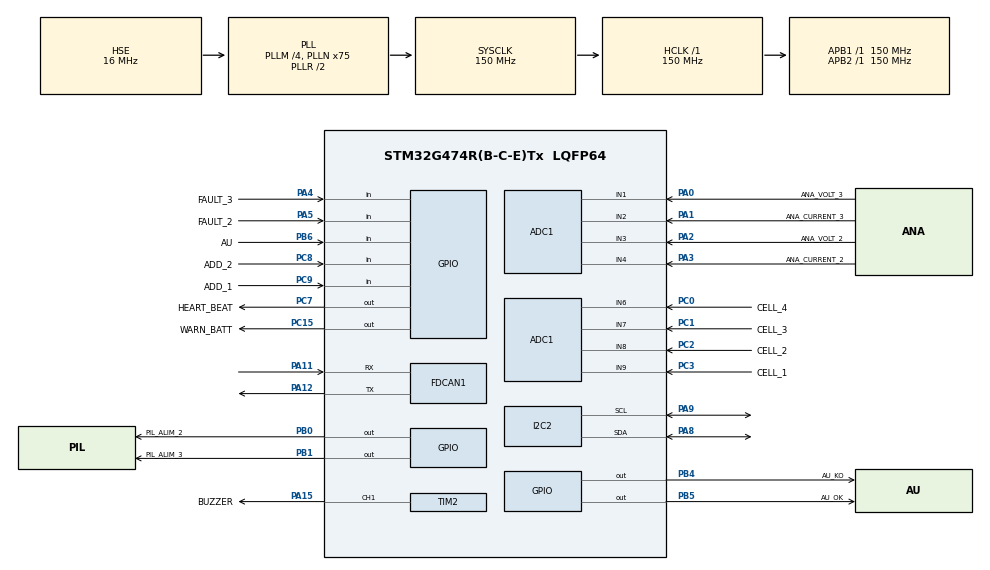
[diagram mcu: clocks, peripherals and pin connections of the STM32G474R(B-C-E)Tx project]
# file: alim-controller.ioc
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ADC1.Channel-0\#ChannelRegularConversion=ADC_CHANNEL_1
ADC1.NbrOfConversion=1
ADC1.NbrOfConversionFlag=1
ADC1.OffsetNumber-0\#ChannelRegularConversion=ADC_OFFSET_NONE
ADC1.Rank-0\#ChannelRegularConversion=1
ADC1.SamplingTime-0\#ChannelRegularConversion=ADC_SAMPLETIME_2CYCLES_5
ADC1.master=1
FDCAN1.CalculateBaudRateNominal=2000000
FDCAN1.CalculateTimeBitNominal=500
FDCAN1.CalculateTimeQuantumNominal=100.0
FDCAN1.NominalPrescaler=15
FDCAN1.NominalTimeSeg1=2
FDCAN1.NominalTimeSeg2=2
FDCAN1.StdFiltersNbr=1
FREERTOS.Tasks01=defaultTask,24,128,StartDefaultTask,Default,NULL,Dynamic,NULL,NULL
FREERTOS.Timers01=heartBeatTimer,heartBeatCallback,osTimerPeriodic,Default,NULL,Dynamic,NULL;adcTimer,adcCallback,osTimerPeriodic,Default,NULL,Dynamic,NULL
FREERTOS.configUSE_NEWLIB_REENTRANT=1
I2C2.Timing=0x30D293D6
Mcu.Family=STM32G4
Mcu.Name=STM32G474R(B-C-E)Tx
Mcu.Package=LQFP64
NVIC.PriorityGroup=NVIC_PRIORITYGROUP_4
NVIC.TIM1_UP_TIM16_IRQn=true\:15\:0\:false\:false\:true\:false\:false\:true\:true
NVIC.TimeBase=TIM1_UP_TIM16_IRQn
NVIC.TimeBaseIP=TIM1
PA0.GPIO_Label=ANA_VOLT_3
PA0.Mode=IN1-Single-Ended
PA0.Signal=ADC1_IN1
PA1.GPIO_Label=ANA_CURRENT_3
PA1.Mode=IN2-Single-Ended
PA1.Signal=ADC1_IN2
PA11.Mode=FDCAN_Activate
PA11.Signal=FDCAN1_RX
PA12.Mode=FDCAN_Activate
PA12.Signal=FDCAN1_TX
PA13.Mode=Trace_Asynchronous_SW
PA13.Signal=SYS_JTMS-SWDIO
PA14.Mode=Trace_Asynchronous_SW
PA14.Signal=SYS_JTCK-SWCLK
PA15.GPIO_Label=BUZZER
PA15.Signal=S_TIM2_CH1
PA2.GPIO_Label=ANA_VOLT_2
PA2.Mode=IN3-Single-Ended
PA2.Signal=ADC1_IN3
PA3.GPIO_Label=ANA_CURRENT_2
PA3.Mode=IN4-Single-Ended
PA3.Signal=ADC1_IN4
PA4.GPIO_Label=FAULT_3
PA4.Signal=GPIO_Input
PA5.GPIO_Label=FAULT_2
PA5.Signal=GPIO_Input
PA8.Mode=I2C
PA8.Signal=I2C2_SDA
PA9.Mode=I2C
PA9.Signal=I2C2_SCL
PB0.GPIO_Label=PIL_ALIM_2
PB0.PinState=GPIO_PIN_SET
PB0.Signal=GPIO_Output
PB1.GPIO_Label=PIL_ALIM_3
PB1.PinState=GPIO_PIN_SET
PB1.Signal=GPIO_Output
PB3.Mode=Trace_Asynchronous_SW
PB3.Signal=SYS_JTDO-SWO
PB4.GPIO_Label=AU_KO
PB4.PinState=GPIO_PIN_RESET
PB4.Signal=GPIO_Output
PB5.GPIO_Label=AU_OK
PB5.Signal=GPIO_Output
PB6.GPIO_Label=AU
PB6.Signal=GPIO_Input
PC0.GPIO_Label=CELL_4
PC0.Mode=IN6-Single-Ended
PC0.Signal=ADC1_IN6
PC1.GPIO_Label=CELL_3
PC1.Mode=IN7-Single-Ended
PC1.Signal=ADC1_IN7
PC15-OSC32_OUT.GPIO_Label=WARN_BATT
PC15-OSC32_OUT.PinState=GPIO_PIN_RESET
PC15-OSC32_OUT.Signal=GPIO_Output
PC2.GPIO_Label=CELL_2
PC2.Mode=IN8-Single-Ended
PC2.Signal=ADC1_IN8
PC3.GPIO_Label=CELL_1
PC3.Mode=IN9-Single-Ended
PC3.Signal=ADC1_IN9
PC7.GPIO_Label=HEART_BEAT
PC7.Signal=GPIO_Output
PC8.GPIO_Label=ADD_2
PC8.Signal=GPIO_Input
PC9.GPIO_Label=ADD_1
PC9.Signal=GPIO_Input
PF0-OSC_IN.Mode=HSE-External-Oscillator
PF0-OSC_IN.Signal=RCC_OSC_IN
PF1-OSC_OUT.Mode=HSE-External-Oscillator
PF1-OSC_OUT.Signal=RCC_OSC_OUT
ProjectManager.HeapSize=0x200
ProjectManager.StackSize=0x400
ProjectManager.TargetToolchain=CMake
RCC.ADC12Freq_Value=150000000
RCC.ADC345Freq_Value=150000000
RCC.AHBFreq_Value=150000000
RCC.APB1Freq_Value=150000000
RCC.APB1TimFreq_Value=150000000
RCC.APB2Freq_Value=150000000
RCC.APB2TimFreq_Value=150000000
RCC.CortexFreq_Value=150000000
RCC.EXTERNAL_CLOCK_VALUE=12288000
RCC.HCLKFreq_Value=150000000
RCC.HSE_VALUE=16000000
RCC.HSI48_VALUE=48000000
RCC.HSI_VALUE=16000000
RCC.LSE_VALUE=32768
RCC.PLLM=RCC_PLLM_DIV4
RCC.PLLN=75
RCC.PLLSourceVirtual=RCC_PLLSOURCE_HSE
RCC.SYSCLKFreq_VALUE=150000000
RCC.SYSCLKSource=RCC_SYSCLKSOURCE_PLLCLK
RCC.USBFreq_Value=150000000
RCC.VCOOutputFreq_Value=300000000
SH.S_TIM2_CH1.0=TIM2_CH1,PWM Generation1 CH1
TIM2.AutoReloadPreload=TIM_AUTORELOAD_PRELOAD_ENABLE
TIM2.Channel-PWM\ Generation1\ CH1=TIM_CHANNEL_1
TIM2.PeriodNoDither=54899
TIM2.Prescaler=0
VP_FREERTOS_VS_CMSIS_V2.Mode=CMSIS_V2
VP_SYS_VS_DBSignals.Mode=DisableDeadBatterySignals
VP_SYS_VS_tim1.Mode=TIM1
VP_TIM2_VS_ClockSourceINT.Mode=Internal
board=custom

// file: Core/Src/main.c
/* USER CODE BEGIN Header */
/**
  ******************************************************************************
  * @file           : main.c
  * @brief          : Main program body
  ******************************************************************************
  * @attention
  *
  * Copyright (c) 2024 STMicroelectronics.
  * All rights reserved.
  *
  * This software is licensed under terms that can be found in the LICENSE file
  * in the root directory of this software component.
  * If no LICENSE file comes with this software, it is provided AS-IS.
  *
  ******************************************************************************
  */
/* USER CODE END Header */
#include "main.h"
#include "cmsis_os.h"
#include "adc.h"
#include "fdcan.h"
#include "i2c.h"
#include "tim.h"
#include "gpio.h"

/* USER CODE BEGIN Includes */
#include "itm_log.h"
/* USER CODE END Includes */

/* USER CODE BEGIN PV */
Alimentation internalAlim;
Alimentation externalAlim;

Battery battery;

Configuration configuration;

bool au;
/* USER CODE END PV */

void SystemClock_Config(void);
void MX_FREERTOS_Init(void);

int main(void)
{

  /* USER CODE BEGIN 1 */
  LOG_INFO("main: MCU Configuration");
  /* USER CODE END 1 */

  /* MCU Configuration--------------------------------------------------------*/

  /* Reset of all peripherals, Initializes the Flash interface and the Systick. */
  HAL_Init();

  /* USER CODE BEGIN Init */
  LOG_INFO("main: Begin Init");
  /* USER CODE END Init */

  /* Configure the system clock */
  SystemClock_Config();

  /* USER CODE BEGIN SysInit */
  LOG_INFO("main: Begin SysInit");
  /* USER CODE END SysInit */

  /* Initialize all configured peripherals */
  MX_GPIO_Init();
  MX_ADC1_Init();
  MX_FDCAN1_Init();
  MX_I2C2_Init();
  MX_TIM2_Init();

  /* Init scheduler */
  osKernelInitialize();  /* Call init function for freertos objects (in cmsis_os2.c) */
  MX_FREERTOS_Init();

  /* Start scheduler */
  osKernelStart();

  /* We should never get here as control is now taken by the scheduler */

  /* Infinite loop */
  /* USER CODE BEGIN WHILE */
  // ReSharper disable once CppDFAEndlessLoop
  while (true)
  {
    /* USER CODE END WHILE */

    /* USER CODE BEGIN 3 */
    LOG_WARN("main: Execution après init de FreeRTOS. Tres bizarre");
  }
  /* USER CODE END 3 */
}

void SystemClock_Config(void)
{
  RCC_OscInitTypeDef RCC_OscInitStruct = {0};
  RCC_ClkInitTypeDef RCC_ClkInitStruct = {0};

  /** Configure the main internal regulator output voltage
  */
  HAL_PWREx_ControlVoltageScaling(PWR_REGULATOR_VOLTAGE_SCALE1);

  /** Initializes the RCC Oscillators according to the specified parameters
  * in the RCC_OscInitTypeDef structure.
  */
  RCC_OscInitStruct.OscillatorType = RCC_OSCILLATORTYPE_HSE;
  RCC_OscInitStruct.HSEState = RCC_HSE_ON;
  RCC_OscInitStruct.PLL.PLLState = RCC_PLL_ON;
  RCC_OscInitStruct.PLL.PLLSource = RCC_PLLSOURCE_HSE;
  RCC_OscInitStruct.PLL.PLLM = RCC_PLLM_DIV4;
  RCC_OscInitStruct.PLL.PLLN = 75;
  RCC_OscInitStruct.PLL.PLLP = RCC_PLLP_DIV2;
  RCC_OscInitStruct.PLL.PLLQ = RCC_PLLQ_DIV2;
  RCC_OscInitStruct.PLL.PLLR = RCC_PLLR_DIV2;
  if (HAL_RCC_OscConfig(&RCC_OscInitStruct) != HAL_OK)
  {
    Error_Handler();
  }

  /** Initializes the CPU, AHB and APB buses clocks
  */
  RCC_ClkInitStruct.ClockType = RCC_CLOCKTYPE_HCLK|RCC_CLOCKTYPE_SYSCLK
                              |RCC_CLOCKTYPE_PCLK1|RCC_CLOCKTYPE_PCLK2;
  RCC_ClkInitStruct.SYSCLKSource = RCC_SYSCLKSOURCE_PLLCLK;
  RCC_ClkInitStruct.AHBCLKDivider = RCC_SYSCLK_DIV1;
  RCC_ClkInitStruct.APB1CLKDivider = RCC_HCLK_DIV1;
  RCC_ClkInitStruct.APB2CLKDivider = RCC_HCLK_DIV1;

  if (HAL_RCC_ClockConfig(&RCC_ClkInitStruct, FLASH_LATENCY_4) != HAL_OK)
  {
    Error_Handler();
  }
}

void HAL_TIM_PeriodElapsedCallback(TIM_HandleTypeDef *htim)
{
  if (htim->Instance == TIM1)
  {
    HAL_IncTick();
  }
}

void Error_Handler(void)
{
  /* USER CODE BEGIN Error_Handler_Debug */
  LOG_ERROR("main: ERROR HANDLER");

  /* User can add his own implementation to report the HAL error return state */
  __disable_irq();

  // ReSharper disable once CppDFAEndlessLoop
  while (true)
  {
    HAL_GPIO_WritePin(HEART_BEAT_GPIO_Port, HEART_BEAT_Pin, GPIO_PIN_RESET);
    osDelay(1000);
    for (int i = 0 ; i < 10 ; i++) {
      HAL_GPIO_TogglePin(HEART_BEAT_GPIO_Port, HEART_BEAT_Pin);
      osDelay(100);
    }
  }
  /* USER CODE END Error_Handler_Debug */
}

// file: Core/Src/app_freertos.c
/* USER CODE BEGIN Header */
/**
  ******************************************************************************
  * File Name          : app_freertos.c
  * Description        : Code for freertos applications
  ******************************************************************************
  * @attention
  *
  * Copyright (c) 2024 STMicroelectronics.
  * All rights reserved.
  *
  * This software is licensed under terms that can be found in the LICENSE file
  * in the root directory of this software component.
  * If no LICENSE file comes with this software, it is provided AS-IS.
  *
  ******************************************************************************
  */
/* USER CODE END Header */

#include "FreeRTOS.h"
#include "task.h"
#include "main.h"
#include "cmsis_os.h"

/* USER CODE BEGIN Includes */
#include "itm_log.h"
#include "adc.h"
#include "tim.h"
#include "fdcan.h"
/* USER CODE END Includes */

/* Definitions for defaultTask */
osThreadId_t defaultTaskHandle;
const osThreadAttr_t defaultTask_attributes = {
  .name = "defaultTask",
  .priority = (osPriority_t) osPriorityNormal,
  .stack_size = 128 * 4
};
/* Definitions for heartBeatTimer */
osTimerId_t heartBeatTimerHandle;
const osTimerAttr_t heartBeatTimer_attributes = {
  .name = "heartBeatTimer"
};
/* Definitions for adcTimer */
osTimerId_t adcTimerHandle;
const osTimerAttr_t adcTimer_attributes = {
  .name = "adcTimer"
};

/* USER CODE BEGIN FunctionPrototypes */
void notifyAU(FDCAN_TxHeaderTypeDef txHeader);
void notifyAlim(FDCAN_TxHeaderTypeDef txHeader, Alimentation alim, uint8_t canId);
void notifyBattery(FDCAN_TxHeaderTypeDef txHeader);
void notifyVersion(FDCAN_TxHeaderTypeDef txHeader);

double lipoCellPercent(double tension);
/* USER CODE END FunctionPrototypes */

void StartDefaultTask(void *argument);
void heartBeatCallback(void *argument);
void adcCallback(void *argument);

void MX_FREERTOS_Init(void); /* (MISRA C 2004 rule 8.1) */

void MX_FREERTOS_Init(void) {
  /* USER CODE BEGIN Init */
  LOG_INFO("freertos: Init FreeRTOS");
  /* USER CODE END Init */

  /* Create the timer(s) */
  /* creation of heartBeatTimer */
  heartBeatTimerHandle = osTimerNew(heartBeatCallback, osTimerPeriodic, NULL, &heartBeatTimer_attributes);

  /* creation of adcTimer */
  adcTimerHandle = osTimerNew(adcCallback, osTimerPeriodic, NULL, &adcTimer_attributes);

  /* Create the thread(s) */
  /* creation of defaultTask */
  defaultTaskHandle = osThreadNew(StartDefaultTask, NULL, &defaultTask_attributes);

}

void StartDefaultTask(void *argument)
{
  /* USER CODE BEGIN StartDefaultTask */
  LOG_INFO("mainTask: Start");

  // Buzzer sounds & warn leds works
  htim2.Instance->CCR1 = 27450;
  for (int i = 0 ; i < 10 ; i++) {
    if (i % 2) {
      HAL_TIM_PWM_Start(&htim2, TIM_CHANNEL_1);
    } else {
      HAL_TIM_PWM_Stop(&htim2, TIM_CHANNEL_1);
    }
    HAL_GPIO_TogglePin(WARN_BATT_GPIO_Port, WARN_BATT_Pin);
    osDelay(100);
  }
  HAL_TIM_PWM_Stop(&htim2, TIM_CHANNEL_1);
  HAL_GPIO_WritePin(WARN_BATT_GPIO_Port, WARN_BATT_Pin, GPIO_PIN_RESET);

  LOG_INFO("mainTask: Init variables");
  configuration.monitoredInternalAlim = false;
  configuration.monitoredExternalAlim = false;
  configuration.monitoredBattery = false;

  internalAlim.tension = 0.0;
  internalAlim.current = 0.0;
  internalAlim.fault = false;

  externalAlim.tension = 0.0;
  externalAlim.current = 0.0;
  externalAlim.fault = false;

  battery.cell1Volt = 4.2;
  battery.cell1Percent = 100.0;
  battery.cell2Volt = 4.2;
  battery.cell2Percent = 100.0;
  battery.cell3Volt = 4.2;
  battery.cell3Percent = 100.0;
  battery.cell4Volt = 4.2;
  battery.cell4Percent = 100.0;
  battery.batteryVolt = 16.8;
  battery.batteryPercent = 100.0;

  LOG_INFO("mainTask: Start FDCan listener");
  HAL_FDCAN_Start(&hfdcan1);

  // Start timers after boot init
  osTimerStart(heartBeatTimerHandle, 1000);
  osTimerStart(adcTimerHandle, 2000);

  /* Prepare FDCAN Tx */
  FDCAN_TxHeaderTypeDef TxHeader;

  TxHeader.IdType = FDCAN_STANDARD_ID;
  TxHeader.TxFrameType = FDCAN_DATA_FRAME;
  TxHeader.ErrorStateIndicator = FDCAN_ESI_ACTIVE;
  TxHeader.BitRateSwitch = FDCAN_BRS_OFF;
  TxHeader.FDFormat = FDCAN_CLASSIC_CAN;
  TxHeader.TxEventFifoControl = FDCAN_NO_TX_EVENTS;
  TxHeader.MessageMarker = 0;
  TxHeader.Identifier = 0;
  TxHeader.DataLength = 0;

  bool auPrec = -1;

  /* Infinite loop */
  // ReSharper disable once CppDFAEndlessLoop
  while(true) {
    LOG_INFO("mainTask: Read AU");
    au = HAL_GPIO_ReadPin(AU_GPIO_Port, AU_Pin) == GPIO_PIN_RESET;
    if (au != auPrec) {
      LOG_INFO("mainTask: AU changed");
      auPrec = au;
      notifyAU(TxHeader);
    }

    // Print AU state on LED
    if (au) {
      HAL_GPIO_WritePin(AU_OK_GPIO_Port, AU_OK_Pin, GPIO_PIN_SET);
      HAL_GPIO_WritePin(AU_KO_GPIO_Port, AU_KO_Pin, GPIO_PIN_RESET);
    } else {
      HAL_GPIO_WritePin(AU_OK_GPIO_Port, AU_OK_Pin, GPIO_PIN_RESET);
      HAL_GPIO_WritePin(AU_KO_GPIO_Port, AU_KO_Pin, GPIO_PIN_SET);
    }

    /* Check if a message is come */
    FDCAN_RxHeaderTypeDef RxHeader;
    uint8_t               RxData[1];
    HAL_StatusTypeDef canRequest = HAL_FDCAN_GetRxMessage(&hfdcan1, FDCAN_RX_FIFO0, &RxHeader, RxData);
    if (canRequest == HAL_OK) {
      TxHeader.Identifier = RxHeader.Identifier;
      if (RxHeader.Identifier == GET_AU_STATE) {
        notifyAU(TxHeader);

      } else if (RxHeader.Identifier == GET_ALIM2_STATE) {
        notifyAlim(TxHeader, internalAlim, GET_ALIM2_STATE);

      } else if (RxHeader.Identifier == GET_ALIM3_STATE) {
        notifyAlim(TxHeader, externalAlim, GET_ALIM3_STATE);

      } else if (RxHeader.Identifier == GET_BATTERY_STATE) {
        notifyBattery(TxHeader);

      } else if (RxHeader.Identifier == GET_VERSION) {
        notifyVersion(TxHeader);

      } else if (RxHeader.Identifier == GET_SOUND) {
        LOG_INFO("mainTask: Sound");
        for (int i = 0 ; i < 5 ; i++) {
          if (i % 2) {
            HAL_TIM_PWM_Start(&htim2, TIM_CHANNEL_1);
          } else {
            HAL_TIM_PWM_Stop(&htim2, TIM_CHANNEL_1);
          }
          osDelay(100);
        }

      } else if (RxHeader.Identifier == SET_CONFIG) {
        configuration.monitoredInternalAlim = RxData[0] & 0x01;
        configuration.monitoredExternalAlim = RxData[0] & 0x02;
        configuration.monitoredBattery = RxData[0] & 0x04;

      } else if (RxHeader.Identifier == SET_ALIM_2) {
        bool enable = RxData[0] & 0x01;
        if (enable) {
          HAL_GPIO_WritePin(PIL_ALIM_2_GPIO_Port, PIL_ALIM_2_Pin, GPIO_PIN_RESET);
        } else {
          HAL_GPIO_WritePin(PIL_ALIM_2_GPIO_Port, PIL_ALIM_2_Pin, GPIO_PIN_SET);
        }

      } else if (RxHeader.Identifier == SET_ALIM_3) {
        bool enable = RxData[0] & 0x01;
        if (enable) {
          HAL_GPIO_WritePin(PIL_ALIM_3_GPIO_Port, PIL_ALIM_3_Pin, GPIO_PIN_RESET);
        } else {
          HAL_GPIO_WritePin(PIL_ALIM_3_GPIO_Port, PIL_ALIM_3_Pin, GPIO_PIN_SET);
        }
      } else {
        LOG_WARN("mainTask: Unknown message");
      }
    }
    osDelay(50);
  }
  /* USER CODE END StartDefaultTask */
}

/* heartBeatCallback function */
void heartBeatCallback(void *argument)
{
  /* USER CODE BEGIN heartBeatCallback */

  // Heart Beat LED
  HAL_GPIO_TogglePin(HEART_BEAT_GPIO_Port, HEART_BEAT_Pin);

  // Battery critical
  if (battery.batteryPercent < 20) {
    // Batterie faible
    if (HAL_GPIO_ReadPin(HEART_BEAT_GPIO_Port, HEART_BEAT_Pin) == GPIO_PIN_SET) {
      HAL_TIM_PWM_Start(&htim2, TIM_CHANNEL_1);
    } else {
      HAL_TIM_PWM_Stop(&htim2, TIM_CHANNEL_1);
    }
  }

  // Alim in fault or battery low
  if (battery.batteryPercent < 25) {
    // Alim en erreur
    for (int i = 0 ; i < 5 ; i++) {
      HAL_GPIO_TogglePin(WARN_BATT_GPIO_Port, WARN_BATT_Pin);
      osDelay(100);
    }
    HAL_GPIO_WritePin(WARN_BATT_GPIO_Port, WARN_BATT_Pin, GPIO_PIN_RESET);
  }
  /* USER CODE END heartBeatCallback */
}

/* adcCallback function */
void adcCallback(void *argument)
{
  /* USER CODE BEGIN adcCallback */

  FDCAN_TxHeaderTypeDef TxHeader;

  TxHeader.IdType = FDCAN_STANDARD_ID;
  TxHeader.TxFrameType = FDCAN_DATA_FRAME;
  TxHeader.ErrorStateIndicator = FDCAN_ESI_ACTIVE;
  TxHeader.BitRateSwitch = FDCAN_BRS_OFF;
  TxHeader.FDFormat = FDCAN_CLASSIC_CAN;
  TxHeader.TxEventFifoControl = FDCAN_NO_TX_EVENTS;
  TxHeader.MessageMarker = 0;

  // Read fault
  internalAlim.fault = false; // HAL_GPIO_ReadPin(FAULT_2_GPIO_Port, FAULT_2_Pin) == GPIO_PIN_RESET;
  externalAlim.fault = false; // HAL_GPIO_ReadPin(FAULT_3_GPIO_Port, FAULT_3_Pin) == GPIO_PIN_RESET;

  uint32_t rawAdc;

  if (configuration.monitoredInternalAlim) {
    double oldTension = internalAlim.tension;
    double oldCurrent = internalAlim.current;

    LOG_INFO("adcCallback: Read ADC Internal Alim Volt");
    adcSelectInternalAlimVolt();
    HAL_ADC_Start(&hadc1);
    HAL_ADC_PollForConversion(&hadc1, 1000);
    rawAdc = HAL_ADC_GetValue(&hadc1);
    HAL_ADC_Stop(&hadc1);
    internalAlim.tension = (rawAdc / ADC_RESOLUTION) * (V_REF / DIVISEUR_TENSION);

    LOG_INFO("adcCallback: Read ADC Internal Alim Current");
    adcSelectInternalAlimCurrent();
    HAL_ADC_Start(&hadc1);
    HAL_ADC_PollForConversion(&hadc1, 1000);
    rawAdc = HAL_ADC_GetValue(&hadc1);
    HAL_ADC_Stop(&hadc1);
    internalAlim.current = (rawAdc / ADC_RESOLUTION) * V_REF * ACS_RESOLUTION;

    if (internalAlim.current != oldCurrent || internalAlim.tension != oldTension) {
      LOG_INFO("adcCallback: Notify internal Alim");
      notifyAlim(TxHeader, internalAlim, GET_ALIM2_STATE);
    }
  }

  if (configuration.monitoredExternalAlim) {
    double oldTension = externalAlim.tension;
    double oldCurrent = externalAlim.current;

    LOG_INFO("adcCallback: Read ADC External Alim Volt");
    adcSelectExternalAlimVolt();
    HAL_ADC_Start(&hadc1);
    HAL_ADC_PollForConversion(&hadc1, 1000);
    rawAdc = HAL_ADC_GetValue(&hadc1);
    HAL_ADC_Stop(&hadc1);
    externalAlim.tension = (rawAdc / ADC_RESOLUTION) * (V_REF / DIVISEUR_TENSION);

    LOG_INFO("adcCallback: Read ADC External Alim Current");
    adcSelectExternalAlimCurrent();
    HAL_ADC_Start(&hadc1);
    HAL_ADC_PollForConversion(&hadc1, 1000);
    rawAdc = HAL_ADC_GetValue(&hadc1);
    HAL_ADC_Stop(&hadc1);
    externalAlim.current = (rawAdc / ADC_RESOLUTION) * V_REF * ACS_RESOLUTION;

    if (externalAlim.current != oldCurrent || externalAlim.tension != oldTension) {
      LOG_INFO("adcCallback: Notify external Alims");
      notifyAlim(TxHeader, externalAlim, GET_ALIM3_STATE);
    }
  }

  if (configuration.monitoredBattery) {
    // Read battery
    LOG_INFO("adcCallback: Read Battery cell 1");
    adcSelectCell1Volt();
    HAL_ADC_Start(&hadc1);
    HAL_ADC_PollForConversion(&hadc1, 1000);
    rawAdc = HAL_ADC_GetValue(&hadc1);
    HAL_ADC_Stop(&hadc1);
    battery.cell1Volt = (rawAdc / ADC_RESOLUTION) * (V_REF / GAIN_DIFFERENTIEL);
    battery.cell1Percent = lipoCellPercent(battery.cell1Volt);

    LOG_INFO("adcCallback: Read Battery cell 2");
    adcSelectCell2Volt();
    HAL_ADC_Start(&hadc1);
    HAL_ADC_PollForConversion(&hadc1, 1000);
    rawAdc = HAL_ADC_GetValue(&hadc1);
    HAL_ADC_Stop(&hadc1);
    battery.cell2Volt = (rawAdc / ADC_RESOLUTION) * (V_REF / GAIN_DIFFERENTIEL);
    battery.cell2Percent = lipoCellPercent(battery.cell2Volt);

    LOG_INFO("adcCallback: Read Battery cell 3");
    adcSelectCell3Volt();
    HAL_ADC_Start(&hadc1);
    HAL_ADC_PollForConversion(&hadc1, 1000);
    rawAdc = HAL_ADC_GetValue(&hadc1);
    HAL_ADC_Stop(&hadc1);
    battery.cell3Volt = (rawAdc / ADC_RESOLUTION) * (V_REF / GAIN_DIFFERENTIEL);
    battery.cell3Percent = lipoCellPercent(battery.cell3Volt);

    LOG_INFO("adcCallback: Read Battery cell 4");
    adcSelectCell4Volt();
    HAL_ADC_Start(&hadc1);
    HAL_ADC_PollForConversion(&hadc1, 1000);
    rawAdc = HAL_ADC_GetValue(&hadc1);
    HAL_ADC_Stop(&hadc1);
    battery.cell4Volt = (rawAdc / ADC_RESOLUTION) * (V_REF / GAIN_DIFFERENTIEL);
    battery.cell4Percent = lipoCellPercent(battery.cell4Volt);

    double oldBatteryVolt = battery.batteryVolt;
    double oldBatteryPercent = battery.batteryPercent;
    battery.batteryVolt = battery.cell1Volt + battery.cell2Volt + battery.cell3Volt + battery.cell4Volt;
    battery.batteryPercent =
            (battery.cell1Percent + battery.cell2Percent + battery.cell3Percent + battery.cell4Percent) / 4.0;

    if (oldBatteryVolt != battery.batteryVolt || oldBatteryPercent != battery.batteryPercent) {
      LOG_INFO("adcCallback: Notify Battery");
      notifyBattery(TxHeader);
    }
  }

  /* USER CODE END adcCallback */
}

/* USER CODE BEGIN Application */
void notifyAU(FDCAN_TxHeaderTypeDef txHeader) {
  LOG_INFO("notifyAU");

  // Notify
  txHeader.Identifier = GET_AU_STATE;
  txHeader.DataLength = FDCAN_DLC_BYTES_1;
  uint8_t data = au ? 0x01 : 0x00;

  if (HAL_FDCAN_AddMessageToTxFifoQ(&hfdcan1, &txHeader, &data) != HAL_OK) {
    /* Transmission request Error */
    Error_Handler();
  }
}

void notifyAlim(FDCAN_TxHeaderTypeDef txHeader, Alimentation alim, uint8_t canId) {
  LOG_INFO("notifyAlim");

  // Notify
  txHeader.Identifier = canId;
  txHeader.DataLength = FDCAN_DLC_BYTES_5;

  uint8_t txBuffer[FDCAN_DLC_BYTES_5];
  uint16_t tension, current;

  // 0-1   : Alim tension
  tension = alim.tension * 100;
  txBuffer[0] = (tension >> 8) & 0xFF;
  txBuffer[1] = tension & 0xFF;
  // 2-3   : Alim current
  current = alim.current * 100;
  txBuffer[2] = (current >> 8) & 0xFF;
  txBuffer[3] = current & 0xFF;

  // 8    : 0 0 0 0 0 0 'ExternalAlim fault' 'Internal Alim fault'
  txBuffer[4] = alim.fault;

  if (HAL_FDCAN_AddMessageToTxFifoQ(&hfdcan1, &txHeader, txBuffer) != HAL_OK) {
    /* Transmission request Error */
    Error_Handler();
  }
}

void notifyBattery(FDCAN_TxHeaderTypeDef txHeader) {
  LOG_INFO("notifyBattery");

  // Notify
  txHeader.Identifier = GET_BATTERY_STATE;
  txHeader.DataLength = FDCAN_DLC_BYTES_4;

  uint8_t txBuffer[FDCAN_DLC_BYTES_4];
  uint16_t tension, percent;

  // 0-1 : Battery tension
  tension = battery.batteryVolt * 100;
  txBuffer[0] = (tension >> 8) & 0xFF;
  txBuffer[1] = tension & 0xFF;
  // 2-3 : Battery percent
  percent = battery.batteryPercent * 100;
  txBuffer[2] = (percent >> 8) & 0xFF;
  txBuffer[3] = percent & 0xFF;

  if (HAL_FDCAN_AddMessageToTxFifoQ(&hfdcan1, &txHeader, txBuffer) != HAL_OK) {
    /* Transmission request Error */
    Error_Handler();
  }

}

void notifyVersion(FDCAN_TxHeaderTypeDef txHeader) {
  LOG_INFO("notifyVersion");

  // Notify
  txHeader.Identifier = GET_VERSION;
  txHeader.DataLength = sizeof(VERSION_SHORT);

  uint8_t txBuffer[sizeof(VERSION_SHORT)];
  for (int i = 0 ; i < sizeof(VERSION_SHORT) ; i++) {
    txBuffer[i] = VERSION_SHORT[i];
  }

  if (HAL_FDCAN_AddMessageToTxFifoQ(&hfdcan1, &txHeader, txBuffer) != HAL_OK) {
    /* Transmission request Error */
    Error_Handler();
  }
}

double lipoCellPercent(double tension){
  // Fonctions affine déduite des données suivantes :
  // %	  U
  // 0	  3.0
  // 5	  3.3
  // 10	  3.6
  // 20	  3.7
  // 30	  3.75
  // 40	  3.79
  // 50	  3.83
  // 60	  3.87
  // 70	  3.92
  // 80	  3.97
  // 90	  4.1
  // 100	4.2
  //
  // Region 1 : y = 0.035 x + 3
  // Region 2 : y = 0.00528 x + 3.54714
  // Region 3 : y = 0.0115 x + 3.05

  // y = m * x + b
  // x = y - b / a
  // y = tension
  // x = percent
  double m;
  double b;
  if (tension <= 3.6) {
    m = 0.035;
    b = 3;
  } else if (tension > 3.6 && tension <= 3.97) {
    m = 0.00528;
    b = 3.54714;
  } else {
    m = 0.0115;
    b = 3.05;
  }
  return (tension - b) / m;
}
/* USER CODE END Application */
